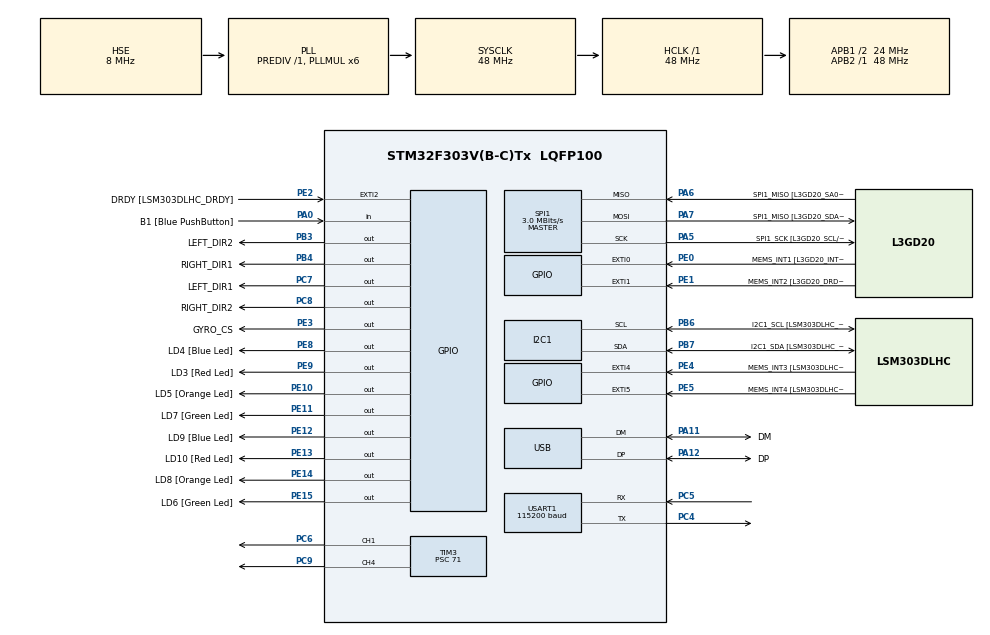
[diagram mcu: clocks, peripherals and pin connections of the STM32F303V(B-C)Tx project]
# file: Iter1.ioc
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I2C1.Timing=0x00201D2B
I2C1.Timing-I2C=0x2000090E
Mcu.Family=STM32F3
Mcu.Name=STM32F303V(B-C)Tx
Mcu.Package=LQFP100
NVIC.PriorityGroup=NVIC_PRIORITYGROUP_0
NVIC.TIM4_IRQn=true\:0\:0\:false\:false\:true\:true\:true\:true
NVIC.USB_LP_CAN_RX0_IRQn=true\:0\:0\:false\:false\:true\:false\:true\:true
PA0.GPIO_Label=B1 [Blue PushButton]
PA0.Signal=GPIO_Input
PA11.GPIO_Label=DM
PA11.Mode=Device
PA11.Signal=USB_DM
PA12.GPIO_Label=DP
PA12.Mode=Device
PA12.Signal=USB_DP
PA13.GPIO_Label=SWDIO
PA13.Mode=Serial_Wire
PA13.Signal=SYS_JTMS-SWDIO
PA14.GPIO_Label=SWCLK
PA14.Mode=Serial_Wire
PA14.Signal=SYS_JTCK-SWCLK
PA5.GPIO_Label=SPI1_SCK [L3GD20_SCL/SPC]
PA5.Mode=Full_Duplex_Master
PA5.Signal=SPI1_SCK
PA6.GPIO_Label=SPI1_MISO [L3GD20_SA0/SDO]
PA6.Mode=Full_Duplex_Master
PA6.Signal=SPI1_MISO
PA7.GPIO_Label=SPI1_MISO [L3GD20_SDA/SDI/SDO]
PA7.Mode=Full_Duplex_Master
PA7.Signal=SPI1_MOSI
PB3.GPIO_Label=LEFT_DIR2
PB3.Signal=GPIO_Output
PB4.GPIO_Label=RIGHT_DIR1
PB4.Signal=GPIO_Output
PB6.GPIO_Label=I2C1_SCL [LSM303DLHC_SCL]
PB6.GPIO_Pu=GPIO_PULLUP
PB6.Mode=I2C
PB6.Signal=I2C1_SCL
PB7.GPIO_Label=I2C1_SDA [LSM303DLHC_SDA]
PB7.GPIO_Pu=GPIO_PULLUP
PB7.Mode=I2C
PB7.Signal=I2C1_SDA
PC14-OSC32_IN.GPIO_Label=OSC32_IN
PC14-OSC32_IN.Signal=RCC_OSC32_IN
PC15-OSC32_OUT.GPIO_Label=OSC32_OUT
PC15-OSC32_OUT.Signal=RCC_OSC32_OUT
PC4.Mode=Asynchronous
PC4.Signal=USART1_TX
PC5.Mode=Asynchronous
PC5.Signal=USART1_RX
PC6.Signal=S_TIM3_CH1
PC7.GPIO_Label=LEFT_DIR1
PC7.Signal=GPIO_Output
PC8.GPIO_Label=RIGHT_DIR2
PC8.Signal=GPIO_Output
PC9.Signal=S_TIM3_CH4
PE0.GPIO_Label=MEMS_INT1 [L3GD20_INT1]
PE0.GPIO_ModeDefaultEXTI=GPIO_MODE_EVT_RISING
PE0.Signal=GPXTI0
PE1.GPIO_Label=MEMS_INT2 [L3GD20_DRDY/INT2]
PE1.GPIO_ModeDefaultEXTI=GPIO_MODE_EVT_RISING
PE1.Signal=GPXTI1
PE10.GPIO_Label=LD5 [Orange Led]
PE10.Signal=GPIO_Output
PE11.GPIO_Label=LD7 [Green Led]
PE11.Signal=GPIO_Output
PE12.GPIO_Label=LD9 [Blue Led]
PE12.Signal=GPIO_Output
PE13.GPIO_Label=LD10 [Red Led]
PE13.Signal=GPIO_Output
PE14.GPIO_Label=LD8 [Orange Led]
PE14.Signal=GPIO_Output
PE15.GPIO_Label=LD6 [Green Led]
PE15.Signal=GPIO_Output
PE2.GPIO_Label=DRDY [LSM303DLHC_DRDY]
PE2.GPIO_ModeDefaultEXTI=GPIO_MODE_EVT_RISING
PE2.Signal=GPXTI2
PE3.GPIO_Label=GYRO_CS
PE3.Signal=GPIO_Output
PE4.GPIO_Label=MEMS_INT3 [LSM303DLHC_INT1]
PE4.GPIO_ModeDefaultEXTI=GPIO_MODE_EVT_RISING
PE4.Signal=GPXTI4
PE5.GPIO_Label=MEMS_INT4 [LSM303DLHC_INT2]
PE5.GPIO_ModeDefaultEXTI=GPIO_MODE_EVT_RISING
PE5.Signal=GPXTI5
PE8.GPIO_Label=LD4 [Blue Led]
PE8.Signal=GPIO_Output
PE9.GPIO_Label=LD3 [Red Led]
PE9.Signal=GPIO_Output
PF0-OSC_IN.GPIO_Label=OSC_IN
PF0-OSC_IN.Mode=HSE-External-Clock-Source
PF0-OSC_IN.Signal=RCC_OSC_IN
PF1-OSC_OUT.GPIO_Label=OSC_OUT
PF1-OSC_OUT.Signal=RCC_OSC_OUT
ProjectManager.HeapSize=0x200
ProjectManager.StackSize=0x400
ProjectManager.TargetToolchain=CMake
RCC.AHBFreq_Value=48000000
RCC.APB1CLKDivider=RCC_HCLK_DIV2
RCC.APB1Freq_Value=24000000
RCC.APB1TimFreq_Value=48000000
RCC.APB2Freq_Value=48000000
RCC.APB2TimFreq_Value=48000000
RCC.CortexFreq_Value=48000000
RCC.HCLKFreq_Value=48000000
RCC.HSE_VALUE=8000000
RCC.HSI_VALUE=8000000
RCC.LSE_VALUE=32768
RCC.PLLMUL=RCC_PLL_MUL6
RCC.SYSCLKFreq_VALUE=48000000
RCC.SYSCLKSourceVirtual=RCC_SYSCLKSOURCE_PLLCLK
RCC.USBFreq_Value=48000000
SH.S_TIM3_CH1.0=TIM3_CH1,PWM Generation1 CH1
SH.S_TIM3_CH4.0=TIM3_CH4,PWM Generation4 CH4
SPI1.BaudRatePrescaler=SPI_BAUDRATEPRESCALER_16
SPI1.BaudRatePrescaler-Full_Duplex_Master=SPI_BAUDRATEPRESCALER_2
SPI1.CalculateBaudRate=3.0 MBits/s
SPI1.CalculateBaudRate-Full_Duplex_Master=24.0 MBits/s
SPI1.Direction=SPI_DIRECTION_2LINES
SPI1.Mode=SPI_MODE_MASTER
SPI1.Mode-Full_Duplex_Master=SPI_MODE_MASTER
SPI1.VirtualType=VM_MASTER
TIM3.Channel-PWM\ Generation1\ CH1=TIM_CHANNEL_1
TIM3.Channel-PWM\ Generation4\ CH4=TIM_CHANNEL_4
TIM3.Period=999
TIM3.Prescaler=71
TIM4.Period=49
TIM4.Prescaler=4799
USART1.BaudRate=115200
USART1.VirtualMode-Asynchronous=VM_ASYNC
USB_DEVICE.CLASS_NAME_FS=CDC
USB_DEVICE.VirtualMode=Cdc
USB_DEVICE.VirtualModeFS=Cdc_FS
VP_TIM3_VS_ClockSourceINT.Mode=Internal
VP_TIM4_VS_ClockSourceINT.Mode=Internal
VP_USB_DEVICE_VS_USB_DEVICE_CDC_FS.Mode=CDC_FS
board=STM32F3DISCOVERY

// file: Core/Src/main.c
/* USER CODE BEGIN Header */
/**
  ******************************************************************************
  * @file           : main.c
  * @brief          : Main program body
  ******************************************************************************
  * @attention
  *
  * Copyright (c) 2026 STMicroelectronics.
  * All rights reserved.
  *
  * This software is licensed under terms that can be found in the LICENSE file
  * in the root directory of this software component.
  * If no LICENSE file comes with this software, it is provided AS-IS.
  *
  ******************************************************************************
  */
/* USER CODE END Header */
#include "main.h"
#include "usb_device.h"

/* USER CODE BEGIN Includes */
#include <math.h>
#include <stdint.h>
#include <stdio.h>
#include <string.h>
/* USER CODE END Includes */

/* USER CODE BEGIN PTD */
typedef struct {
    int16_t raw_x, raw_y, raw_z;
    float scaled_x, scaled_y, scaled_z;
    float offset_x, offset_y, offset_z;
    int16_t gyro_raw_x, gyro_raw_y, gyro_raw_z;
    float gyro_scaled_x, gyro_scaled_y, gyro_scaled_z;
    float gyro_offset_x, gyro_offset_y, gyro_offset_z;
} LSM_Data;
/* USER CODE END PTD */

/* USER CODE BEGIN PD */
/* IMU STUFF */
#define LSM_ADDR       (0x19 << 1)   /* Accelerometer I2C address (SA0=1) */
#define GYRO_CS_PORT   GPIOE
#define GYRO_CS_PIN    GPIO_PIN_3    /* PE3 = GYRO_CS from Task 1 */
#define GYRO_CTRL_REG1 0x20
#define GYRO_OUT_X_L   0x28

// Motor Control Constants
#define MAX_PWM 999.0f

/* <============ Motor direction pins
 Right motor: PB4 (DIR A, shield D12) and PC8 (DIR B, shield D8)
 Left  motor: PC7 (DIR A, shield D7)  and PC5 (DIR B, shield D6 mapped free)
 ====////?>
 */
#define RIGHT_DIR1_PORT  GPIOB
#define RIGHT_DIR1_PIN   GPIO_PIN_4   /* PB4 to shield D12 */
#define RIGHT_DIR2_PORT  GPIOC
#define RIGHT_DIR2_PIN   GPIO_PIN_8   /* PC8 to shield D8  */
#define LEFT_DIR1_PORT   GPIOC
#define LEFT_DIR1_PIN    GPIO_PIN_7   /* PC7 to shield D7  */
#define LEFT_DIR2_PORT   GPIOB
#define LEFT_DIR2_PIN    GPIO_PIN_3   /* PB3 to shield D6 */

/* ==============
  PWM
  ====>>>
 TIM3 ARR = 999 (valid range is 0999)
 MAX_PWM caps PID output so we never exceed ARR.
 DEADZONE lifts the floor so motors actually spin (overcome static friction).
 */
#define MAX_PWM      999.0f
#define PWM_DEADZONE 150.0f // Toc hange when motors dont start

/* ========
  Timing
  >>>>>>>
 DT must match TIM4: Prescaler=4799, Period=49
 48MHz / 4800 / 50 = 200Hz then into DT = 1/200 = 0.005s
 (filter + PID) define here and used everywhere
 */
#define DT  0.005f

/* USER CODE END PD */

/* Private macro -----------------------a--------------------------------------*/

I2C_HandleTypeDef hi2c1;

SPI_HandleTypeDef hspi1;

TIM_HandleTypeDef htim3;
TIM_HandleTypeDef htim4;

UART_HandleTypeDef huart1;

/* USER CODE BEGIN PV */
LSM_Data acc_data;

// Shared between ISR and main loop
volatile uint8_t display_flag = 0;

// Complementary filter state
float tilt_angle    = 0.0f;
float acc_angle     = 0.0f;

/*
 PID gains:
          Started with Kp=5, Ki=0, Kd=0 (P-only) for verifying motor dir.
 Ki Kd added after verifying
 */
float Kp = 5.0f;
// float Ki = 0.1f;
// float Kd = 0.5f;
float Ki = 0.1f;
float Kd = 0.5f;

float setpoint       = 0.0f;  /// Desired angle = 0 deg. (upright)
float integral       = 0.0f;
float previous_error = 0.0f;
float pid_output     = 0.0f;

// At 200Hz, 400 samples = 2 seconds of averaging
#define AUTOCAL_SAMPLES  400

volatile uint8_t  autocal_active  = 0;   /* 1 while collecting samples */
volatile uint32_t autocal_count   = 0;   /* samples collected so far   */
volatile float    autocal_sum     = 0.0f; /* running sum of tilt_angle  */

/* USER CODE END PV */

void SystemClock_Config(void);
static void MX_GPIO_Init(void);
static void MX_I2C1_Init(void);
static void MX_SPI1_Init(void);
static void MX_USART1_UART_Init(void);
static void MX_TIM4_Init(void);
static void MX_TIM3_Init(void);
/* USER CODE BEGIN PFP */

void LSM_Init(void);
void GYRO_Init(void);
void LSM_Read(LSM_Data *data);
void GYRO_Read(LSM_Data *data);
void Calibrate_Sensors(LSM_Data *data);
void Set_Motor_Speeds(float pid_value);
void HAL_TIM_MspPostInit(TIM_HandleTypeDef *htim);
/* USER CODE END PFP */

/* USER CODE BEGIN 0 */

/*
 * Calibrate_Sensors()
 * =============
 * WHY:
        ----Both sensors have a small constant error (offset/bias) at rest.
 *      We measure that bias here so every future reading subtracts it out.

 * HOW:
        ----Take 50 readings while board is flat and still, average them.
 *      Accelerometer Z gets 1g subtracted because gravity acts along Z when flat.

 * (Board comp still during these appx 500m)
 */

void Calibrate_Sensors(LSM_Data *data) {
    float sx=0,sy=0,sz=0, gx=0,gy=0,gz=0;

    // Zero offsets first so reads during calibration are raw (uncompensated)
    data->offset_x = data->offset_y = data->offset_z = 0.0f;
    data->gyro_offset_x = data->gyro_offset_y = data->gyro_offset_z = 0.0f;

    for (int i = 0; i < 50; i++) {
        LSM_Read(data);
        GYRO_Read(data);
        sx += data->scaled_x;  sy += data->scaled_y;  sz += data->scaled_z;
        gx += data->gyro_scaled_x; gy += data->gyro_scaled_y; gz += data->gyro_scaled_z;
        HAL_Delay(10);
    }
    data->offset_x = sx/50.0f;
    data->offset_y = sy/50.0f;
    data->offset_z = (sz/50.0f) - 1.0f;  /// Remove 1g gravity from Z

    data->gyro_offset_x = gx/50.0f;
    data->gyro_offset_y = gy/50.0f;
    data->gyro_offset_z = gz/50.0f;
}

// Redirected printf() to UART so we can use printf() for serial output
int _write(int file, char *ptr, int len) {
    HAL_UART_Transmit(&huart1, (uint8_t*)ptr, len, HAL_MAX_DELAY);
    return len;
}

/* Start_AutoCalibration()
 * //////////////////
 * Initiates a 2-second averaging window inside the ISR.
 * The robot must be held upright and still during this time.
 * When complete, the ISR writes the average directly into setpoint.
 *
 * WHY: The complementary filter takes ~0.5s to converge after startup.
 *      Averaging over 2 full seconds (400 samples at 200Hz) gives a
 *      stable, noise-averaged setpoint rather than a single noisy snapshot.
 */
void Start_AutoCalibration(void)
{
    autocal_sum    = 0.0f;
    autocal_count  = 0;
    autocal_active = 1;   /* ISR begins collecting on next tick */
}

/* USER CODE END 0 */

int main(void)
{

  /* MCU Configuration--------------------------------------------------------*/

  /* Reset of all peripherals, Initializes the Flash interface and the Systick. */
  HAL_Init();

  /* Configure the system clock */
  SystemClock_Config();

  /* Initialize all configured peripherals */
  MX_GPIO_Init();
  MX_I2C1_Init();
  MX_SPI1_Init();
  MX_USART1_UART_Init();
  MX_USB_DEVICE_Init();
  MX_TIM4_Init();
  MX_TIM3_Init();
  /* USER CODE BEGIN 2 */

  /// Initialize IMU sensors
    LSM_Init();
    GYRO_Init();

   /*
        =Wait 250ms for hardware to fully power on
        =During this we place the robot flat on a table without touching it
        =(Calibrate_Sensors) is the next call that will measure the resting bias
     */
    HAL_Delay(250);
    Calibrate_Sensors(&acc_data);

    /*
     == TM3 PWM Start on both channels
     ==> CH1 = PC6 = Right motor (shield D10)
     ==> CH4 = PC9 = Left  motor (shield D9)
     == Both start at 0 duty cycle (motors off until PID commands them)
     */
    HAL_TIM_PWM_Start(&htim3, TIM_CHANNEL_1);
    HAL_TIM_PWM_Start(&htim3, TIM_CHANNEL_4);

    /*
     = > Start TIM4 interrupt which kicks off 200Hz control loop
     = > From this point on, HAL_TIM_PeriodElapsedCallback fires every 5ms */
    HAL_TIM_Base_Start_IT(&htim4);

  /* USER CODE END 2 */

  /* Infinite loop */
  /* USER CODE BEGIN WHILE */
  while (1)
  {
    /*
        ==== > Main loop ONLY handles UART printing at 10Hz
        ==== > The ISR sets display_flag every 20 ticks (200Hz/20 = 10Hz)
        ==== > We read the flag here and print , this keeps slow UART I/O
        ==== > Out of the time-critical ISR */

      if (display_flag == 1) {
        display_flag = 0;/*
          === \\ 3 Values separated for sensorplot.py(seial monitor):
          === \\ Column 1: accelerometer angle estimate
          === \\ Column 2: gyroscope rate (deg/s)
          === \\ Column 3: complementary filter output (the actual tilt angle used by PID)*/

        printf(
        "%.2f,%.2f,%.2f\r\n",
        acc_angle,
        acc_data.gyro_scaled_y,
        tilt_angle
        );

      }
    }
    /* USER CODE END WHILE */

  }

void SystemClock_Config(void)
{
  RCC_OscInitTypeDef RCC_OscInitStruct = {0};
  RCC_ClkInitTypeDef RCC_ClkInitStruct = {0};
  RCC_PeriphCLKInitTypeDef PeriphClkInit = {0};

  /** Initializes the RCC Oscillators according to the specified parameters
  * in the RCC_OscInitTypeDef structure.
  */
  RCC_OscInitStruct.OscillatorType = RCC_OSCILLATORTYPE_HSI|RCC_OSCILLATORTYPE_HSE;
  RCC_OscInitStruct.HSEState = RCC_HSE_BYPASS;
  RCC_OscInitStruct.HSEPredivValue = RCC_HSE_PREDIV_DIV1;
  RCC_OscInitStruct.HSIState = RCC_HSI_ON;
  RCC_OscInitStruct.HSICalibrationValue = RCC_HSICALIBRATION_DEFAULT;
  RCC_OscInitStruct.PLL.PLLState = RCC_PLL_ON;
  RCC_OscInitStruct.PLL.PLLSource = RCC_PLLSOURCE_HSE;
  RCC_OscInitStruct.PLL.PLLMUL = RCC_PLL_MUL6;
  if (HAL_RCC_OscConfig(&RCC_OscInitStruct) != HAL_OK)
  {
    Error_Handler();
  }

  /** Initializes the CPU, AHB and APB buses clocks
  */
  RCC_ClkInitStruct.ClockType = RCC_CLOCKTYPE_HCLK|RCC_CLOCKTYPE_SYSCLK
                              |RCC_CLOCKTYPE_PCLK1|RCC_CLOCKTYPE_PCLK2;
  RCC_ClkInitStruct.SYSCLKSource = RCC_SYSCLKSOURCE_PLLCLK;
  RCC_ClkInitStruct.AHBCLKDivider = RCC_SYSCLK_DIV1;
  RCC_ClkInitStruct.APB1CLKDivider = RCC_HCLK_DIV2;
  RCC_ClkInitStruct.APB2CLKDivider = RCC_HCLK_DIV1;

  if (HAL_RCC_ClockConfig(&RCC_ClkInitStruct, FLASH_LATENCY_1) != HAL_OK)
  {
    Error_Handler();
  }
  PeriphClkInit.PeriphClockSelection = RCC_PERIPHCLK_USB|RCC_PERIPHCLK_USART1
                              |RCC_PERIPHCLK_I2C1;
  PeriphClkInit.Usart1ClockSelection = RCC_USART1CLKSOURCE_PCLK2;
  PeriphClkInit.I2c1ClockSelection = RCC_I2C1CLKSOURCE_HSI;
  PeriphClkInit.USBClockSelection = RCC_USBCLKSOURCE_PLL;
  if (HAL_RCCEx_PeriphCLKConfig(&PeriphClkInit) != HAL_OK)
  {
    Error_Handler();
  }
}

static void MX_I2C1_Init(void)
{

  hi2c1.Instance = I2C1;
  hi2c1.Init.Timing = 0x00201D2B;
  hi2c1.Init.OwnAddress1 = 0;
  hi2c1.Init.AddressingMode = I2C_ADDRESSINGMODE_7BIT;
  hi2c1.Init.DualAddressMode = I2C_DUALADDRESS_DISABLE;
  hi2c1.Init.OwnAddress2 = 0;
  hi2c1.Init.OwnAddress2Masks = I2C_OA2_NOMASK;
  hi2c1.Init.GeneralCallMode = I2C_GENERALCALL_DISABLE;
  hi2c1.Init.NoStretchMode = I2C_NOSTRETCH_DISABLE;
  if (HAL_I2C_Init(&hi2c1) != HAL_OK)
  {
    Error_Handler();
  }

  /** Configure Analogue filter
  */
  if (HAL_I2CEx_ConfigAnalogFilter(&hi2c1, I2C_ANALOGFILTER_ENABLE) != HAL_OK)
  {
    Error_Handler();
  }

  /** Configure Digital filter
  */
  if (HAL_I2CEx_ConfigDigitalFilter(&hi2c1, 0) != HAL_OK)
  {
    Error_Handler();
  }

}

static void MX_SPI1_Init(void)
{

  /* SPI1 parameter configuration*/
  hspi1.Instance = SPI1;
  hspi1.Init.Mode = SPI_MODE_MASTER;
  hspi1.Init.Direction = SPI_DIRECTION_2LINES;
  hspi1.Init.DataSize = SPI_DATASIZE_8BIT;
  hspi1.Init.CLKPolarity = SPI_POLARITY_LOW;
  hspi1.Init.CLKPhase = SPI_PHASE_1EDGE;
  hspi1.Init.NSS = SPI_NSS_SOFT;
  hspi1.Init.BaudRatePrescaler = SPI_BAUDRATEPRESCALER_16;
  hspi1.Init.FirstBit = SPI_FIRSTBIT_MSB;
  hspi1.Init.TIMode = SPI_TIMODE_DISABLE;
  hspi1.Init.CRCCalculation = SPI_CRCCALCULATION_DISABLE;
  hspi1.Init.CRCPolynomial = 7;
  hspi1.Init.CRCLength = SPI_CRC_LENGTH_DATASIZE;
  hspi1.Init.NSSPMode = SPI_NSS_PULSE_ENABLE;
  if (HAL_SPI_Init(&hspi1) != HAL_OK)
  {
    Error_Handler();
  }

}

static void MX_TIM3_Init(void)
{

  TIM_ClockConfigTypeDef sClockSourceConfig = {0};
  TIM_MasterConfigTypeDef sMasterConfig = {0};
  TIM_OC_InitTypeDef sConfigOC = {0};

  htim3.Instance = TIM3;
  htim3.Init.Prescaler = 71;
  htim3.Init.CounterMode = TIM_COUNTERMODE_UP;
  htim3.Init.Period = 999;
  htim3.Init.ClockDivision = TIM_CLOCKDIVISION_DIV1;
  htim3.Init.AutoReloadPreload = TIM_AUTORELOAD_PRELOAD_DISABLE;
  if (HAL_TIM_Base_Init(&htim3) != HAL_OK)
  {
    Error_Handler();
  }
  sClockSourceConfig.ClockSource = TIM_CLOCKSOURCE_INTERNAL;
  if (HAL_TIM_ConfigClockSource(&htim3, &sClockSourceConfig) != HAL_OK)
  {
    Error_Handler();
  }
  if (HAL_TIM_PWM_Init(&htim3) != HAL_OK)
  {
    Error_Handler();
  }
  sMasterConfig.MasterOutputTrigger = TIM_TRGO_RESET;
  sMasterConfig.MasterSlaveMode = TIM_MASTERSLAVEMODE_DISABLE;
  if (HAL_TIMEx_MasterConfigSynchronization(&htim3, &sMasterConfig) != HAL_OK)
  {
    Error_Handler();
  }
  sConfigOC.OCMode = TIM_OCMODE_PWM1;
  sConfigOC.Pulse = 0;
  sConfigOC.OCPolarity = TIM_OCPOLARITY_HIGH;
  sConfigOC.OCFastMode = TIM_OCFAST_DISABLE;
  if (HAL_TIM_PWM_ConfigChannel(&htim3, &sConfigOC, TIM_CHANNEL_1) != HAL_OK)
  {
    Error_Handler();
  }
  if (HAL_TIM_PWM_ConfigChannel(&htim3, &sConfigOC, TIM_CHANNEL_4) != HAL_OK)
  {
    Error_Handler();
  }
  HAL_TIM_MspPostInit(&htim3);

}

static void MX_TIM4_Init(void)
{

  TIM_ClockConfigTypeDef sClockSourceConfig = {0};
  TIM_MasterConfigTypeDef sMasterConfig = {0};

  htim4.Instance = TIM4;
  htim4.Init.Prescaler = 4799;
  htim4.Init.CounterMode = TIM_COUNTERMODE_UP;
  htim4.Init.Period = 49;
  htim4.Init.ClockDivision = TIM_CLOCKDIVISION_DIV1;
  htim4.Init.AutoReloadPreload = TIM_AUTORELOAD_PRELOAD_DISABLE;
  if (HAL_TIM_Base_Init(&htim4) != HAL_OK)
  {
    Error_Handler();
  }
  sClockSourceConfig.ClockSource = TIM_CLOCKSOURCE_INTERNAL;
  if (HAL_TIM_ConfigClockSource(&htim4, &sClockSourceConfig) != HAL_OK)
  {
    Error_Handler();
  }
  sMasterConfig.MasterOutputTrigger = TIM_TRGO_RESET;
  sMasterConfig.MasterSlaveMode = TIM_MASTERSLAVEMODE_DISABLE;
  if (HAL_TIMEx_MasterConfigSynchronization(&htim4, &sMasterConfig) != HAL_OK)
  {
    Error_Handler();
  }

}

static void MX_USART1_UART_Init(void)
{

  huart1.Instance = USART1;
  huart1.Init.BaudRate = 115200;
  huart1.Init.WordLength = UART_WORDLENGTH_8B;
  huart1.Init.StopBits = UART_STOPBITS_1;
  huart1.Init.Parity = UART_PARITY_NONE;
  huart1.Init.Mode = UART_MODE_TX_RX;
  huart1.Init.HwFlowCtl = UART_HWCONTROL_NONE;
  huart1.Init.OverSampling = UART_OVERSAMPLING_16;
  huart1.Init.OneBitSampling = UART_ONE_BIT_SAMPLE_DISABLE;
  huart1.AdvancedInit.AdvFeatureInit = UART_ADVFEATURE_NO_INIT;
  if (HAL_UART_Init(&huart1) != HAL_OK)
  {
    Error_Handler();
  }

}

static void MX_GPIO_Init(void)
{
  GPIO_InitTypeDef GPIO_InitStruct = {0};

  /* GPIO Ports Clock Enable */
  __HAL_RCC_GPIOE_CLK_ENABLE();
  __HAL_RCC_GPIOC_CLK_ENABLE();
  __HAL_RCC_GPIOF_CLK_ENABLE();
  __HAL_RCC_GPIOA_CLK_ENABLE();
  __HAL_RCC_GPIOB_CLK_ENABLE();

  /*Configure GPIO pin Output Level */
  HAL_GPIO_WritePin(GPIOE, GYRO_CS_Pin|LD4_Pin|LD3_Pin|LD5_Pin
                          |LD7_Pin|LD9_Pin|LD10_Pin|LD8_Pin
                          |LD6_Pin, GPIO_PIN_RESET);

  /*Configure GPIO pin Output Level */
  HAL_GPIO_WritePin(GPIOC, LEFT_DIR1_Pin|RIGHT_DIR2_Pin, GPIO_PIN_RESET);

  /*Configure GPIO pin Output Level */
  HAL_GPIO_WritePin(GPIOB, LEFT_DIR2_Pin|RIGHT_DIR1_Pin, GPIO_PIN_RESET);

  /*Configure GPIO pins : DRDY_Pin MEMS_INT3_Pin MEMS_INT4_Pin MEMS_INT1_Pin
                           MEMS_INT2_Pin */
  GPIO_InitStruct.Pin = DRDY_Pin|MEMS_INT3_Pin|MEMS_INT4_Pin|MEMS_INT1_Pin
                          |MEMS_INT2_Pin;
  GPIO_InitStruct.Mode = GPIO_MODE_EVT_RISING;
  GPIO_InitStruct.Pull = GPIO_NOPULL;
  HAL_GPIO_Init(GPIOE, &GPIO_InitStruct);

  /*Configure GPIO pins : GYRO_CS_Pin LD4_Pin LD3_Pin LD5_Pin
                           LD7_Pin LD9_Pin LD10_Pin LD8_Pin
                           LD6_Pin */
  GPIO_InitStruct.Pin = GYRO_CS_Pin|LD4_Pin|LD3_Pin|LD5_Pin
                          |LD7_Pin|LD9_Pin|LD10_Pin|LD8_Pin
                          |LD6_Pin;
  GPIO_InitStruct.Mode = GPIO_MODE_OUTPUT_PP;
  GPIO_InitStruct.Pull = GPIO_NOPULL;
  GPIO_InitStruct.Speed = GPIO_SPEED_FREQ_LOW;
  HAL_GPIO_Init(GPIOE, &GPIO_InitStruct);

  /*Configure GPIO pin : B1_Pin */
  GPIO_InitStruct.Pin = B1_Pin;
  GPIO_InitStruct.Mode = GPIO_MODE_INPUT;
  GPIO_InitStruct.Pull = GPIO_NOPULL;
  HAL_GPIO_Init(B1_GPIO_Port, &GPIO_InitStruct);

  /*Configure GPIO pins : LEFT_DIR1_Pin RIGHT_DIR2_Pin */
  GPIO_InitStruct.Pin = LEFT_DIR1_Pin|RIGHT_DIR2_Pin;
  GPIO_InitStruct.Mode = GPIO_MODE_OUTPUT_PP;
  GPIO_InitStruct.Pull = GPIO_NOPULL;
  GPIO_InitStruct.Speed = GPIO_SPEED_FREQ_LOW;
  HAL_GPIO_Init(GPIOC, &GPIO_InitStruct);

  /*Configure GPIO pins : LEFT_DIR2_Pin RIGHT_DIR1_Pin */
  GPIO_InitStruct.Pin = LEFT_DIR2_Pin|RIGHT_DIR1_Pin;
  GPIO_InitStruct.Mode = GPIO_MODE_OUTPUT_PP;
  GPIO_InitStruct.Pull = GPIO_NOPULL;
  GPIO_InitStruct.Speed = GPIO_SPEED_FREQ_LOW;
  HAL_GPIO_Init(GPIOB, &GPIO_InitStruct);

}

/* USER CODE BEGIN 4 */
void LSM_Init(void) {
    uint8_t data;
    data = 0x67;
    HAL_I2C_Mem_Write(&hi2c1, LSM_ADDR, 0x20, I2C_MEMADD_SIZE_8BIT, &data, 1, HAL_MAX_DELAY);
    data = 0x88;
    HAL_I2C_Mem_Write(&hi2c1, LSM_ADDR, 0x23, I2C_MEMADD_SIZE_8BIT, &data, 1, HAL_MAX_DELAY);
}

/*
 * LSM_Read()
 * //////////////////////
))))))))))) Read 6 bytes of accelerometer data via I2C (X, Y, Z each as 2 bytes)
))))))))))) The 0x80 OR sets the auto-increment bit so all 6 registers are read in one call.
))))))))))) In High-Resolution mode: shift right 4 bits, sensitivity = 1mg/LSB.
))))))))))) Divide by 1000 to convert mg into g, then subtract calibrated offset
 */
void LSM_Read(LSM_Data *data) {
    uint8_t rawData[6];
    HAL_I2C_Mem_Read(&hi2c1, LSM_ADDR, 0x28 | 0x80, I2C_MEMADD_SIZE_8BIT,
                     rawData, 6, HAL_MAX_DELAY);

    data->raw_x = ((int16_t)((rawData[1]<<8)|rawData[0])) >> 4;
    data->raw_y = ((int16_t)((rawData[3]<<8)|rawData[2])) >> 4;
    data->raw_z = ((int16_t)((rawData[5]<<8)|rawData[4])) >> 4;

    data->scaled_x = (data->raw_x / 1000.0f) - data->offset_x;
    data->scaled_y = (data->raw_y / 1000.0f) - data->offset_y;
    data->scaled_z = (data->raw_z / 1000.0f) - data->offset_z;
}

/*
 * GYRO_Init()
 * //////////////////////
)))))))))))))))) Configure the L3GD20 gyroscope via SPI
)))))))))))))))) CTRL_REG1 = 0x0F to Power on, enable XYZ axes, 95Hz ODR
)))))))))))))))) We manually drive CS low/high because NSS is set to software mode
 */
void GYRO_Init(void) {
    uint8_t data[2] = {GYRO_CTRL_REG1, 0x0F};
    HAL_GPIO_WritePin(GYRO_CS_PORT, GYRO_CS_PIN, GPIO_PIN_RESET);
    HAL_SPI_Transmit(&hspi1, data, 2, HAL_MAX_DELAY);
    HAL_GPIO_WritePin(GYRO_CS_PORT, GYRO_CS_PIN, GPIO_PIN_SET);
}

uint8_t GYRO_Read_Byte(uint8_t reg) {
    uint8_t tx = 0x80 | reg; // 0x80 is the Read bit
    uint8_t rx = 0;
    HAL_GPIO_WritePin(GYRO_CS_PORT, GYRO_CS_PIN, GPIO_PIN_RESET);
    HAL_SPI_Transmit(&hspi1, &tx, 1, HAL_MAX_DELAY);
    HAL_SPI_Receive(&hspi1, &rx, 1, HAL_MAX_DELAY);
    HAL_GPIO_WritePin(GYRO_CS_PORT, GYRO_CS_PIN, GPIO_PIN_SET);
    return rx;
}

/*
 * GYRO_Read()
 * //////////////////////
))))))))))))))) Read all 6 gyroscope registers in one SPI burst transaction.
))))))))))))))) 0xC0 = 0x80 (read) | 0x40 (auto-increment address).
))))))))))))))) Sensitivity at ±250dps: 0.00875 dps/LSB.
))))))))))))))) Subtract calibrated offset to remove resting drift.
 */
void GYRO_Read(LSM_Data *data) {
    // uint8_t tx_buf[7] = {0};
    // uint8_t rx_buf[7] = {0};
    // tx_buf[0] = 0xC0 | GYRO_OUT_X_L;

    // HAL_GPIO_WritePin(GYRO_CS_PORT, GYRO_CS_PIN, GPIO_PIN_RESET);
    // HAL_SPI_TransmitReceive(&hspi1, tx_buf, rx_buf, 7, HAL_MAX_DELAY);
    // HAL_GPIO_WritePin(GYRO_CS_PORT, GYRO_CS_PIN, GPIO_PIN_SET);

    // data->gyro_raw_x = (int16_t)((rx_buf[2]<<8)|rx_buf[1]);
    // data->gyro_raw_y = (int16_t)((rx_buf[4]<<8)|rx_buf[3]);
    // data->gyro_raw_z = (int16_t)((rx_buf[6]<<8)|rx_buf[5]);

    // data->gyro_scaled_x = (data->gyro_raw_x * 0.00875f) - data->gyro_offset_x;
    // data->gyro_scaled_y = (data->gyro_raw_y * 0.00875f) - data->gyro_offset_y;
    // data->gyro_scaled_z = (data->gyro_raw_z * 0.00875f) - data->gyro_offset_z;

    // Read registers individually using helper function
    uint8_t xL = GYRO_Read_Byte(0x28);
    uint8_t xH = GYRO_Read_Byte(0x29);
    uint8_t yL = GYRO_Read_Byte(0x2A);
    uint8_t yH = GYRO_Read_Byte(0x2B);
    uint8_t zL = GYRO_Read_Byte(0x2C);
    uint8_t zH = GYRO_Read_Byte(0x2D);

    data->gyro_raw_x = (int16_t)((xH << 8) | xL);
    data->gyro_raw_y = (int16_t)((yH << 8) | yL);
    data->gyro_raw_z = (int16_t)((zH << 8) | zL);

    // Scale and applying the offset to remove resting drift
    data->gyro_scaled_x = (data->gyro_raw_x * 0.00875f) - data->gyro_offset_x;
    data->gyro_scaled_y = (data->gyro_raw_y * 0.00875f) - data->gyro_offset_y;
    data->gyro_scaled_z = (data->gyro_raw_z * 0.00875f) - data->gyro_offset_z;
}

/*
 * HAL_TIM_PeriodElapsedCallback() [ THE CONTROL LOOP ]
 * //////////////////////////////////////////////////
))))))) This function is called automatically by HAL every time TIM4 overflows
))))))) With Prescaler=4799, Period=49 at 48MHz t------> fires exactly every 5ms (200Hz)

 (((( If we put the filter + PID in while(1), the loop time varies because printf() and other operations take variable time
  A varying dt makes the complementary filter drift and the PID behave unpredictably
 The timer ISR fires at a guaranteed fixed interval ---> no jitter
 */

void HAL_TIM_PeriodElapsedCallback(TIM_HandleTypeDef *htim)
{
    if (htim->Instance == TIM4)
    {
        static int counter = 0;

        /* '''''''''''''''''''' STEP 1: Read sensors ''''''''''''''''''''
            We read both IMU sensors every 5ms
            The I2C/SPI calls here are blocking but very short (appx 50µs each)
            But its acceptable at 200Hz since we have 5ms budget per tick.
         */
        LSM_Read(&acc_data);
        GYRO_Read(&acc_data);

        /* '''''''''''''''''''' STEP 2: Complementary filter ''''''''''''''''''''
         *
                acc_angle: tilt angle calculated from accelerometer alone.
                  atan2(X, Z) gives the angle of the board relative to gravity in the X-Z plane, this is the pitch/tilt axis.
                  Multiplying by 180/π converts radians to degrees.
                  This is accurate but noisy (vibrations affect it).
         *
                tilt_angle: blended estimate.
                  98% comes from integrating the gyroscope (fast, smooth, drifts slowly).
                  2% comes from the accelerometer (slow, noisy, drift-free long-term).
                  Together they give a stable, low-noise angle estimate.
         *
                DT is the fixed 0.005s interval (must match TIM4 rate exactly)
         *
                Note on axes: atan2(scaled_x, scaled_z) with gyro_scaled_x assumes the board tilts around the X axis.
                If angle reads near 90° when flat or is backwards, swap to atan2(scaled_y, scaled_z) and use gyro_scaled_y. This depends on physical board orientation.
         */
        acc_angle  = atan2f(acc_data.scaled_y, acc_data.scaled_z) * (180.0f / M_PI);
        tilt_angle = 0.98f * (tilt_angle + acc_data.gyro_scaled_y * DT)
                   + 0.02f * acc_angle;

        /* '''''''''''''''''''' STEP 3: PID controller ''''''''''''''''''''
         *
              //  error = how far we are from upright (setpoint = 0°)
                Positive error = tilted one way. Negative = other way
         *
              //  P term: immediate response. Large error -> large output.
                        Kp too high = oscillation. Too low = sluggish.
         *
              //  I term: accumulates error over time. Fixes steady-state offset
                        (e.g. if robot settles at 2° instead of 0°, I pushes it back).
                        Anti-windup clamp prevents I from growing unbounded when
                        motors are already at max (integral windup causes instability).
         *
              //    D term: reacts to error rate of change. Damps oscillations.
                        Kd too high = amplifies sensor noise.
         */
        float error = setpoint - tilt_angle;

        /* P */
        float P = Kp * error;

        /* I, with anti-windup clamp */
        integral += error * DT;
        if      (integral >  500.0f) integral =  500.0f;  // Clamp prevents windup
        else if (integral < -500.0f) integral = -500.0f;
        float I = Ki * integral;

        /* D */
        float derivative = (error - previous_error) / DT;
        float D = Kd * derivative;

        pid_output     = P + I + D;
        previous_error = error;

        /* '''''''''''''''''''' STEP 4: Drive motors '''''''''''''''''''' */
        Set_Motor_Speeds(pid_output);

        /* '''''''''''''''''''' STEP 5: Throttle UART to 10Hz ''''''''''''''''''''
         // 200Hz ISR / counter threshold 20 = 10Hz display rate.
         // This prevents serial output from slowing down the control loop.
         */
        counter++;
        if (counter >= 20) {
            display_flag = 1;
            counter = 0;
        }
    }
}

/*
 * Set_Motor_Speeds()
 * //////////////////////
 \\\\\\ Translates the signed PID output into:
 \\\\\\   1. Motor direction (two GPIO pins per motor, H-bridge control)
 \\\\\\   2. PWM magnitude (unsigned 0–999 written to TIM3 compare register)
 *
 * H-bridge truth table for one motor:
 +++++= DIR1=HIGH, DIR2=LOW  -> Forward
 +++++= DIR1=LOW,  DIR2=HIGH -> Backward
 +++++= DIR1=LOW,  DIR2=LOW  -> Coast (free spin)
 +++++= DIR1=HIGH, DIR2=HIGH -> Brake (avoid this)
 *
 * If motors spin the wrong direction when tilted forward,
 * swap the HIGH/RESET assignments in the pid_value > 0 block.
 */

void Set_Motor_Speeds(float pid_value)
{
    float final_pwm = 0.0f;

    if (pid_value > 0.0f)
    {
        // Tilting forward -> drive forward to catch the fall
        HAL_GPIO_WritePin(RIGHT_DIR1_PORT, RIGHT_DIR1_PIN, GPIO_PIN_SET);
        HAL_GPIO_WritePin(RIGHT_DIR2_PORT, RIGHT_DIR2_PIN, GPIO_PIN_RESET);
        HAL_GPIO_WritePin(LEFT_DIR1_PORT,  LEFT_DIR1_PIN,  GPIO_PIN_RESET);
        HAL_GPIO_WritePin(LEFT_DIR2_PORT,  LEFT_DIR2_PIN,  GPIO_PIN_SET);
        final_pwm = pid_value;
    }
    else if (pid_value < 0.0f)
    {
        // Tilting backward -> drive backward
        HAL_GPIO_WritePin(RIGHT_DIR1_PORT, RIGHT_DIR1_PIN, GPIO_PIN_RESET);
        HAL_GPIO_WritePin(RIGHT_DIR2_PORT, RIGHT_DIR2_PIN, GPIO_PIN_SET);
        HAL_GPIO_WritePin(LEFT_DIR1_PORT,  LEFT_DIR1_PIN,  GPIO_PIN_SET);
        HAL_GPIO_WritePin(LEFT_DIR2_PORT,  LEFT_DIR2_PIN,  GPIO_PIN_RESET);
        final_pwm = -pid_value;   // PWM register must be positive
    }
    else
    {
        // Exactly balanced -> coast to stop
        HAL_GPIO_WritePin(RIGHT_DIR1_PORT, RIGHT_DIR1_PIN, GPIO_PIN_RESET);
        HAL_GPIO_WritePin(RIGHT_DIR2_PORT, RIGHT_DIR2_PIN, GPIO_PIN_RESET);
        HAL_GPIO_WritePin(LEFT_DIR1_PORT,  LEFT_DIR1_PIN,  GPIO_PIN_RESET);
        HAL_GPIO_WritePin(LEFT_DIR2_PORT,  LEFT_DIR2_PIN,  GPIO_PIN_RESET);
        final_pwm = 0.0f;
    }

    /*
     ==== Deadzone: below appx. 150 PWM counts, the motors don't have enough torque to overcome static friction and just buzz.
     Adding the deadzone lifts the minimum so they always actually spin.
     Only added when we intend to move (final_pwm > 0).
     */
    if (final_pwm > 0.0f) {
        final_pwm += PWM_DEADZONE;
    }

    // Hard clamp , never write beyond TIM3 ARR (999)
    if (final_pwm > MAX_PWM) {
        final_pwm = MAX_PWM;
    }

    // Write to TIM3 compare registers, this sets the duty cycle
    __HAL_TIM_SET_COMPARE(&htim3, TIM_CHANNEL_1, (uint32_t)final_pwm); // Right motor, PC6
    __HAL_TIM_SET_COMPARE(&htim3, TIM_CHANNEL_4, (uint32_t)final_pwm); // Left  motor, PC9
}

/* USER CODE END 4 */

void Error_Handler(void)
{
  __disable_irq();
  while (1)
  {
  }
}
